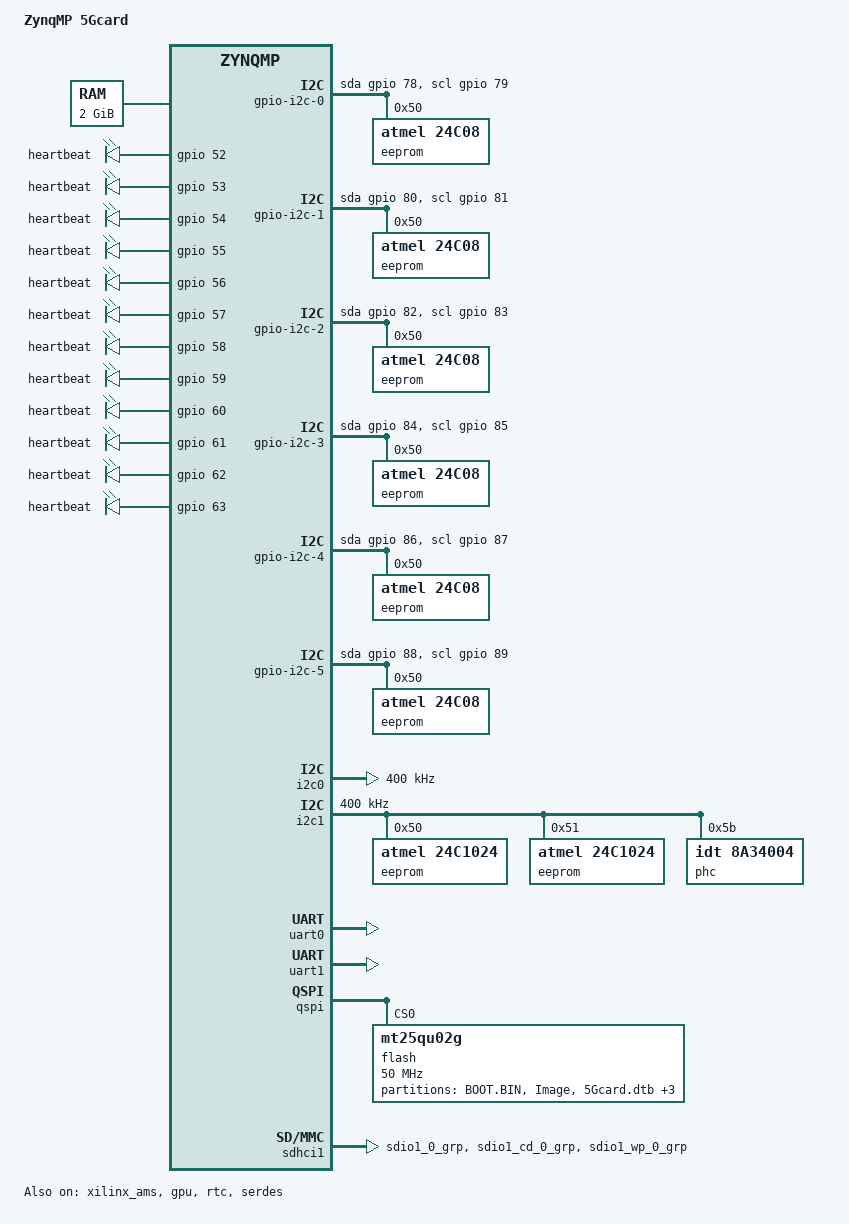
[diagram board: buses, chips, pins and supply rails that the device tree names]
// SPDX-License-Identifier: GPL-2.0+
/*
 * dts file for Xilinx ZynqMP ZCU102 RevA
 *
 * (C) Copyright 2015 - 2020, Xilinx, Inc.
 *
 * Michal Simek <michal.simek@xilinx.com>
 */

/dts-v1/;

#include "zynqmp.dtsi"
#include "zynqmp-clk-ccf.dtsi"
#include <dt-bindings/input/input.h>
#include <dt-bindings/gpio/gpio.h>
#include <dt-bindings/pinctrl/pinctrl-zynqmp.h>
#include <dt-bindings/phy/phy.h>

/ {
	model = "ZynqMP 5Gcard";
	compatible = "xlnx,zynqmp-zcu102-revA", "xlnx,zynqmp-zcu102", "xlnx,zynqmp";

	aliases {

		//ethernet0 = &xxv_ethernet_0;
		gpio0 = &gpio;
		i2c0 = &i2c0;
		i2c1 = &i2c1;
		i2c2 = &axi_iic_0;
		mmc0 = &sdhci1;
		rtc0 = &rtc;
		serial0 = &uart0;
		serial1 = &uart1;
		spi0 = &qspi;
	};

	chosen {
		bootargs = "earlycon";
		stdout-path = "serial0:115200n8";
	};

	memory@0 {
		device_type = "memory";
		reg = <0x0 0x0 0x0 0x7ff00000>;
	};
/*
	gpio-keys {
		compatible = "gpio-keys";
		autorepeat;
		sw19 {
			label = "sw19";
			gpios = <&gpio 22 GPIO_ACTIVE_HIGH>;
			linux,code = <KEY_DOWN>;
			wakeup-source;
			autorepeat;
		};
	};

	leds {
		compatible = "gpio-leds";
		heartbeat-led {
			label = "heartbeat";
			gpios = <&gpio 23 GPIO_ACTIVE_HIGH>;
			linux,default-trigger = "heartbeat";
		};
	};
*/

	//The touchpad input is connected to a GPIO bit-banged I2C bus.
	gpio-i2c-0 {
		compatible = "i2c-gpio";
		i2c-gpio,sda-open-drain;
		i2c-gpio,scl-open-drain;
		i2c-gpio,delay-us = <2>;	/* ~100 kHz */
		sda-gpios = <&gpio 78 (GPIO_ACTIVE_HIGH|GPIO_OPEN_DRAIN)>;
		scl-gpios = <&gpio 79 (GPIO_ACTIVE_HIGH|GPIO_OPEN_DRAIN)>;
		#address-cells = <1>;
		#size-cells = <0>;

		eeprom@50 {
		   #address-cells = <1>;
		   #size-cells = <0>;
		   compatible = "atmel,24c08";
		   reg = <0x50>;
		};
	};

	gpio-i2c-1 {
		compatible = "i2c-gpio";
		i2c-gpio,sda-open-drain;
		i2c-gpio,scl-open-drain;
		i2c-gpio,delay-us = <2>;	/* ~100 kHz */
		sda-gpios = <&gpio 80 (GPIO_ACTIVE_HIGH|GPIO_OPEN_DRAIN)>;
		scl-gpios = <&gpio 81 (GPIO_ACTIVE_HIGH|GPIO_OPEN_DRAIN)>;
		#address-cells = <1>;
		#size-cells = <0>;

		eeprom@50 {
		   #address-cells = <1>;
		   #size-cells = <0>;
		   compatible = "atmel,24c08";
		   reg = <0x50>;
		};
	};
	gpio-i2c-2 {
		compatible = "i2c-gpio";
		i2c-gpio,sda-open-drain;
		i2c-gpio,scl-open-drain;
		i2c-gpio,delay-us = <2>;	/* ~100 kHz */
		sda-gpios = <&gpio 82 (GPIO_ACTIVE_HIGH|GPIO_OPEN_DRAIN)>;
		scl-gpios = <&gpio 83 (GPIO_ACTIVE_HIGH|GPIO_OPEN_DRAIN)>;
		#address-cells = <1>;
		#size-cells = <0>;

		eeprom@50 {
		   #address-cells = <1>;
		   #size-cells = <0>;
		   compatible = "atmel,24c08";
		   reg = <0x50>;
		};
	};
	gpio-i2c-3 {
		compatible = "i2c-gpio";
		i2c-gpio,sda-open-drain;
		i2c-gpio,scl-open-drain;
		i2c-gpio,delay-us = <2>;	/* ~100 kHz */
		sda-gpios = <&gpio 84 (GPIO_ACTIVE_HIGH|GPIO_OPEN_DRAIN)>;
		scl-gpios = <&gpio 85 (GPIO_ACTIVE_HIGH|GPIO_OPEN_DRAIN)>;
		#address-cells = <1>;
		#size-cells = <0>;

		eeprom@50 {
		   #address-cells = <1>;
		   #size-cells = <0>;
		   compatible = "atmel,24c08";
		   reg = <0x50>;
		};
	};
	gpio-i2c-4 {
		compatible = "i2c-gpio";
		i2c-gpio,sda-open-drain;
		i2c-gpio,scl-open-drain;
		i2c-gpio,delay-us = <2>;	/* ~100 kHz */
		sda-gpios = <&gpio 86 (GPIO_ACTIVE_HIGH|GPIO_OPEN_DRAIN)>;
		scl-gpios = <&gpio 87 (GPIO_ACTIVE_HIGH|GPIO_OPEN_DRAIN)>;
		#address-cells = <1>;
		#size-cells = <0>;

		eeprom@50 {
		   #address-cells = <1>;
		   #size-cells = <0>;
		   compatible = "atmel,24c08";
		   reg = <0x50>;
		};
	};
	gpio-i2c-5 {
		compatible = "i2c-gpio";
		i2c-gpio,sda-open-drain;
		i2c-gpio,scl-open-drain;
		i2c-gpio,delay-us = <2>;	/* ~100 kHz */
		sda-gpios = <&gpio 88 (GPIO_ACTIVE_HIGH|GPIO_OPEN_DRAIN)>;
		scl-gpios = <&gpio 89 (GPIO_ACTIVE_HIGH|GPIO_OPEN_DRAIN)>;
		#address-cells = <1>;
		#size-cells = <0>;

		eeprom@50 {
		   #address-cells = <1>;
		   #size-cells = <0>;
		   compatible = "atmel,24c08";
		   reg = <0x50>;
		};
	};
	leds {
		compatible = "gpio-leds";
		GTY_0_128_LINK {
			label = "heartbeat";
			gpios = <&gpio 52 GPIO_ACTIVE_HIGH>;
			linux,default-trigger = "heartbeat";
		};
		GTY_0_128_ACT {
			label = "heartbeat";
			gpios = <&gpio 53 GPIO_ACTIVE_HIGH>;
			linux,default-trigger = "heartbeat";
		};

		GTY_1_128_LINK {
			label = "heartbeat";
			gpios = <&gpio 54 GPIO_ACTIVE_HIGH>;
			linux,default-trigger = "heartbeat";
		};
		GTY_1_128_ACT {
			label = "heartbeat";
			gpios = <&gpio 55 GPIO_ACTIVE_HIGH>;
			linux,default-trigger = "heartbeat";
		};

		GTY_0_129_LINK {
			label = "heartbeat";
			gpios = <&gpio 56 GPIO_ACTIVE_HIGH>;
			linux,default-trigger = "heartbeat";
		};
		GTY_0_129_ACT {
			label = "heartbeat";
			gpios = <&gpio 57 GPIO_ACTIVE_HIGH>;
			linux,default-trigger = "heartbeat";
		};

		GTY_1_129_LINK {
			label = "heartbeat";
			gpios = <&gpio 58 GPIO_ACTIVE_HIGH>;
			linux,default-trigger = "heartbeat";
		};
		GTY_1_129_ACT {
			label = "heartbeat";
			gpios = <&gpio 59 GPIO_ACTIVE_HIGH>;
			linux,default-trigger = "heartbeat";
		};

		GTY_2_129_LINK {
			label = "heartbeat";
			gpios = <&gpio 60 GPIO_ACTIVE_HIGH>;
			linux,default-trigger = "heartbeat";
		};
		GTY_2_129_ACT {
			label = "heartbeat";
			gpios = <&gpio 61 GPIO_ACTIVE_HIGH>;
			linux,default-trigger = "heartbeat";
		};

		GTY_3_129_LINK {
			label = "heartbeat";
			gpios = <&gpio 62 GPIO_ACTIVE_HIGH>;
			linux,default-trigger = "heartbeat";
		};
		GTY_3_129_ACT {
			label = "heartbeat";
			gpios = <&gpio 63 GPIO_ACTIVE_HIGH>;
			linux,default-trigger = "heartbeat";
		};
	};

};


&gic {
	num_cpus = <2>;
	num_interrupts = <96>;
};
&lpd_dma_chan1 {
	status = "okay";
};
&lpd_dma_chan2 {
	status = "okay";
};
&lpd_dma_chan3 {
	status = "okay";
};
&lpd_dma_chan4 {
	status = "okay";
};
&lpd_dma_chan5 {
	status = "okay";
};
&lpd_dma_chan6 {
	status = "okay";
};
&lpd_dma_chan7 {
	status = "okay";
};
&lpd_dma_chan8 {
	status = "okay";
};
&xilinx_ams {
	status = "okay";
};
&fpd_dma_chan1 {
	status = "okay";
};
&fpd_dma_chan2 {
	status = "okay";
};
&fpd_dma_chan3 {
	status = "okay";
};
&fpd_dma_chan4 {
	status = "okay";
};
&fpd_dma_chan5 {
	status = "okay";
};
&fpd_dma_chan6 {
	status = "okay";
};
&fpd_dma_chan7 {
	status = "okay";
};
&fpd_dma_chan8 {
	status = "okay";
};
&gpio {
	emio-gpio-width = <32>;
	gpio-mask-high = <0x0>;
	gpio-mask-low = <0x5600>;
	status = "okay";
};
&gpu {
	status = "okay";
	xlnx,tz-nonsecure = <0x1>;
};
&i2c0 {
	clock-frequency = <400000>;
	status = "okay";


};
&i2c1 {
	clock-frequency = <400000>;
	status = "okay";

	eeprom@50 {
		   #address-cells = <1>;
		   #size-cells = <0>;
		   compatible = "atmel,24c1024";
		   reg = <0x50>;
		   pagesize = <256>;

		};

	eeprom@51 {
		   #address-cells = <1>;
		   #size-cells = <0>;
		   compatible = "atmel,24c1024";
		   reg = <0x51>;
			pagesize = <256>;

		};

	phc@5b {
		    #address-cells = <1>;
        	#size-cells = <0>;
            compatible = "idt,8a34004";
            reg = <0x5b>;
        };


};

&rtc {
	status = "okay";
};

&uart0 {
	status = "okay";
};

&uart1 {
	status = "okay";
};


&serdes {
	status = "okay";
};
&qspi {

	status = "okay";
	is-dual = <0>;
	flash@0 {
		compatible = "mt25qu02g", "jedec,spi-nor"; /* U11 and U12 MT25QU02GCBBE12 1Gb */
		#address-cells = <1>;
		#size-cells = <1>;
		reg = <0x0>;
		spi-rx-bus-width = <4>;
		spi-tx-bus-width = <4>;
		spi-max-frequency = <50000000>; /* Based on DC1 spec */

		partition@boot {
			label = "BOOT.BIN";
			reg = <0x0 0x23e0000>;
		};
		partition@kernel {
			label = "Image";
			reg = <0x23e0000 0xcf0000>;
		};
		partition@device_tree {
			label = "5Gcard.dtb";
			reg = <0x30d0000 0x10000>;
		};
		partition@rootfs {
			label = "uramdisk.image.gz";
			reg = <0x30e0000 0x600000>;
		};
		partition@boot.scr.uimg {
			label = "boot.scr.uimg";
			reg = <0x3e80000 0x10000>;
		};
		partition@APP {//给用户使用的分区
			label = "APP";
			reg = <0x3e90000 0xc170000>;
		};

	};
};

/* SD1 with level shifter */
&sdhci1 {
	status = "okay";
	no-1-8-v;
	pinctrl-names = "default";
	pinctrl-0 = <&pinctrl_sdhci1_default>;
	xlnx,mio_bank = <1>;
	disable-wp;
};


&pinctrl0 {
	status = "okay";
	pinctrl_sdhci1_default: sdhci1-default {
		mux {
			groups = "sdio1_0_grp";
			function = "sdio1";
		};

		conf {
			groups = "sdio1_0_grp";
			slew-rate = <SLEW_RATE_SLOW>;
			io-standard = <IO_STANDARD_LVCMOS18>;
			bias-disable;
		};

		mux-cd {
			groups = "sdio1_cd_0_grp";
			function = "sdio1_cd";
		};

		conf-cd {
			groups = "sdio1_cd_0_grp";
			bias-high-impedance;
			bias-pull-up;
			slew-rate = <SLEW_RATE_SLOW>;
			io-standard = <IO_STANDARD_LVCMOS18>;
		};

		mux-wp {
			groups = "sdio1_wp_0_grp";
			function = "sdio1_wp";
		};

		conf-wp {
			groups = "sdio1_wp_0_grp";
			bias-high-impedance;
			bias-pull-up;
			slew-rate = <SLEW_RATE_SLOW>;
			io-standard = <IO_STANDARD_LVCMOS18>;
		};
	};

	pinctrl_gpio_default: gpio-default {
		mux-sw {
			function = "gpio0";
			groups ="gpio0_52_grp", "gpio0_53_grp",
					"gpio0_54_grp", "gpio0_55_grp",
					"gpio0_56_grp", "gpio0_57_grp",
					"gpio0_52_grp", "gpio0_58_grp",
					"gpio0_59_grp", "gpio0_60_grp",
					"gpio0_61_grp", "gpio0_62_grp";
		};

		conf-sw {
			groups ="gpio0_52_grp", "gpio0_53_grp",
					"gpio0_54_grp", "gpio0_55_grp",
					"gpio0_56_grp", "gpio0_57_grp",
					"gpio0_52_grp", "gpio0_58_grp",
					"gpio0_59_grp", "gpio0_60_grp",
					"gpio0_61_grp", "gpio0_62_grp";
			slew-rate = <SLEW_RATE_SLOW>;
			io-standard = <IO_STANDARD_LVCMOS33>;
		};

		conf-pull-none {
			pins =  "MIO52", "MIO53",
					"MIO54", "MIO55",
					"MIO56", "MIO57",
					"MIO58", "MIO59",
					"MIO60", "MIO61",
					"MIO62", "MIO63";
			bias-disable;
		};
	};
};

